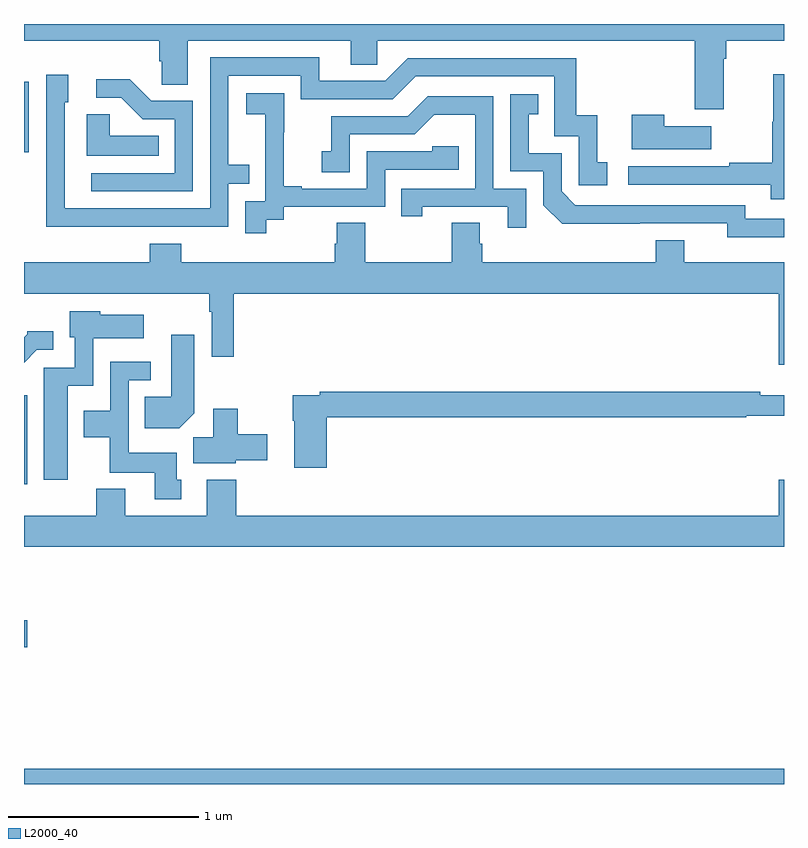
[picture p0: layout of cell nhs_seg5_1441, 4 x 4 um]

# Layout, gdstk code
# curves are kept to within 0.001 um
import gdstk
lib = gdstk.Library(unit=1e-6, precision=1e-09)
def R(c, l, rs):  # rectangles x0, y0, x1, y1
    for r in rs: c.add(gdstk.rectangle(r[:2], r[2:], *l))
def P(c, l, *ps):  # polygons
    for p in ps: c.add(gdstk.Polygon(p, *l))
L2000_40 = (2000, 40)

nhs_seg5_1441 = lib.new_cell('nhs_seg5_1441')
R(nhs_seg5_1441, L2000_40, [(197,900.799,201,900.88), (197,901.52,197.017,901.662), (197,902.376,197.017,902.845), (197,904.125,197.025,904.494)])
P(nhs_seg5_1441, L2000_40, [(200.683,904.616),(200.696,904.616),(200.696,904.712),(201,904.712),(201,904.799),(197,904.799),(197,904.712),(197.711,904.712),(197.711,904.603),(197.724,904.603),(197.724,904.48),(197.863,904.48),(197.863,904.712),(198.719,904.712),(198.719,904.585),(198.858,904.585),(198.858,904.712),(200.531,904.712),(200.531,904.35),(200.683,904.35)],
  [(197.579,903.732),(198.075,903.732),(198.075,903.957),(198.185,903.957),(198.185,904.058),(198.075,904.058),(198.075,904.527),(198.456,904.527),(198.456,904.404),(198.942,904.404),(199.062,904.524),(199.791,904.524),(199.791,904.209),(199.92,904.209),(199.92,903.951),(200.071,903.951),(200.071,904.071),(200.018,904.071),(200.018,904.318),(199.907,904.318),(199.907,904.62),(199.02,904.62),(198.9,904.5),(198.553,904.5),(198.553,904.623),(197.979,904.623),(197.979,903.828),(197.214,903.828),(197.214,904.386),(197.233,904.386),(197.233,904.531),(197.118,904.531),(197.118,904.037),(197.116,904.037),(197.116,903.731)],
  [(201,904.534),(200.944,904.534),(200.944,904.284),(200.937,904.284),(200.937,904.07),(200.713,904.07),(200.713,904.05),(200.181,904.05),(200.181,903.954),(200.929,903.954),(200.929,903.876),(201,903.876)],
  [(197.889,904.395),(197.67,904.395),(197.557,904.508),(197.379,904.508),(197.379,904.41),(197.513,904.41),(197.624,904.299),(197.793,904.299),(197.793,904.014),(197.355,904.014),(197.355,903.918),(197.889,903.918)],
  [(198.274,903.769),(198.366,903.769),(198.366,903.837),(198.9,903.837),(198.9,904.032),(199.289,904.032),(199.289,904.155),(199.149,904.155),(199.149,904.128),(198.804,904.128),(198.804,903.933),(198.463,903.933),(198.463,903.946),(198.368,903.946),(198.368,904.229),(198.369,904.229),(198.369,904.435),(198.171,904.435),(198.171,904.325),(198.269,904.325),(198.269,904.097),(198.27,904.097),(198.27,903.867),(198.165,903.867),(198.165,903.699),(198.274,903.699)],
  [(201,903.774),(200.796,903.774),(200.796,903.846),(199.902,903.846),(199.83,903.918),(199.83,904.119),(199.657,904.119),(199.657,904.323),(199.706,904.323),(199.706,904.429),(199.56,904.429),(199.56,904.023),(199.734,904.023),(199.734,903.846),(199.832,903.749),(200.7,903.75),(200.7,903.677),(201,903.677)],
  [(199.644,903.933),(199.47,903.933),(199.47,904.419),(199.124,904.419),(199.019,904.314),(198.616,904.314),(198.616,904.129),(198.567,904.129),(198.567,904.02),(198.714,904.02),(198.714,904.218),(199.056,904.218),(199.16,904.322),(199.374,904.322),(199.374,903.933),(198.985,903.933),(198.985,903.786),(199.096,903.786),(199.096,903.837),(199.547,903.837),(199.547,903.726),(199.644,903.726)],
  [(197.708,904.21),(197.451,904.21),(197.451,904.325),(197.33,904.325),(197.33,904.106),(197.708,904.106)],
  [(200.617,904.261),(200.369,904.261),(200.369,904.321),(200.198,904.321),(200.198,904.139),(200.617,904.139)],
  [(201,903.544),(200.476,903.544),(200.476,903.661),(200.324,903.661),(200.324,903.544),(199.412,903.544),(199.412,903.642),(199.399,903.642),(199.399,903.752),(199.252,903.752),(199.252,903.544),(198.795,903.544),(198.795,903.752),(198.647,903.752),(198.647,903.642),(198.635,903.642),(198.635,903.544),(197.828,903.544),(197.828,903.643),(197.663,903.643),(197.663,903.544),(197,903.544),(197,903.38),(197.976,903.38),(197.976,903.284),(197.988,903.284),(197.988,903.048),(198.104,903.048),(198.104,903.38),(200.972,903.38),(200.972,903.006),(201,903.006)],
  [(197.23,902.894),(197.364,902.894),(197.364,903.146),(197.629,903.146),(197.629,903.268),(197.4,903.268),(197.4,903.286),(197.24,903.286),(197.24,903.15),(197.268,903.15),(197.268,902.991),(197.105,902.991),(197.105,902.4),(197.23,902.4)],
  [(197.067,903.084),(197.155,903.084),(197.155,903.181),(197.016,903.181),(197.016,903.166),(197,903.15),(197,903.017)],
  [(197.896,902.75),(197.896,903.163),(197.774,903.163),(197.774,902.836),(197.635,902.836),(197.635,902.672),(197.818,902.672)],
  [(197.827,902.4),(197.803,902.4),(197.803,902.542),(197.55,902.542),(197.55,902.925),(197.668,902.925),(197.668,903.021),(197.454,903.021),(197.454,902.764),(197.315,902.764),(197.315,902.624),(197.452,902.624),(197.452,902.438),(197.687,902.438),(197.687,902.298),(197.827,902.298)],
  [(198.593,902.728),(200.8,902.728),(200.8,902.736),(201,902.736),(201,902.845),(200.876,902.845),(200.876,902.864),(198.556,902.864),(198.556,902.844),(198.415,902.844),(198.415,902.711),(198.422,902.711),(198.422,902.463),(198.593,902.463)],
  [(198.114,902.504),(198.28,902.504),(198.28,902.639),(198.126,902.639),(198.126,902.773),(197.996,902.773),(197.996,902.624),(197.891,902.624),(197.891,902.486),(198.114,902.486)],
  [(201,902.401),(200.972,902.401),(200.972,902.212),(198.116,902.212),(198.116,902.401),(197.963,902.401),(197.963,902.212),(197.533,902.212),(197.533,902.353),(197.381,902.353),(197.381,902.212),(197,902.212),(197,902.048),(201,902.048)])

lib.write_gds('nhs_seg5_1441.gds')
